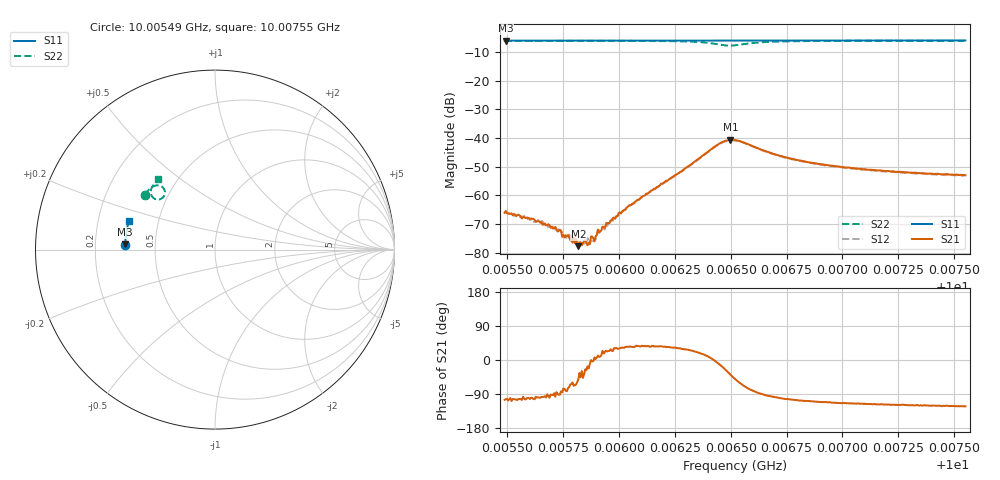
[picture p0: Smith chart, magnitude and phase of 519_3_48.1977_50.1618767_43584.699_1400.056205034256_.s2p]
#  HZ  S  RI  R  50.00
! Rohde & Schwarz Vector Network Analyzer
! Rohde-Schwarz,ZNB20-2Port,1311601062101988,3.16
! Created: UTC 3/20/2024, 11:59:18 AM
! freq[Hz]  re:S11  im:S11  re:S21  im:S21  re:S12  im:S12  re:S22  im:S22
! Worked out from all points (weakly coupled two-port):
!   401 points, 10.00549 GHz to 10.00755 GHz, reference 50 ohm
!   highest |S21| = -40.58 dB at 10.0065 GHz (marker M1); lowest = -77.7 dB at 10.00582 GHz (marker M2)
!   lowest |S11| = -6.0 dB at 10.00549 GHz (marker M3), VSWR 3.01, Z = 16.6 + j1.27 ohm
!   |S11| at or under -10 dB: nowhere
!   |S22| runs from -7.7 to -6.0 dB; largest |S21 - S12| = 0.0006
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1.0005487e10  -0.5004 0.0281  -0.000128 -0.000483  -0.000113 -0.000486  -0.3912 0.3057
1.0005493e10  -0.5003 0.0287  -0.000125 -0.000522  -0.000108 -0.000518  -0.391 0.3059
1.0005647e10  -0.5001 0.0387  -5.62e-05 -0.00033  -2.75e-05 -0.000346  -0.3842 0.315
1.0005673e10  -0.4999 0.0404  -4.62e-05 -0.000298  -7.13e-06 -0.000282  -0.3829 0.3167
1.0005725e10  -0.4996 0.0439  1.04e-06 -0.000235  -2.7e-06 -0.000256  -0.3802 0.3198
1.0005756e10  -0.4996 0.0458  4.33e-05 -0.00018  4.58e-05 -0.000187  -0.3787 0.3217
1.0005776e10  -0.4995 0.0472  5.97e-05 -0.000179  5.62e-05 -0.0002  -0.3778 0.323
1.0005802e10  -0.4993 0.0488  5.91e-05 -0.000135  9.64e-05 -0.000149  -0.3763 0.3247
1.0005818e10  -0.4993 0.0497  8.23e-05 -0.000102  9.53e-05 -9.14e-05  -0.3756 0.3256
1.0005833e10  -0.4993 0.0507  0.000118 -6.55e-05  0.00013 -7.15e-05  -0.3747 0.3266
1.0005859e10  -0.4991 0.0524  0.00013 -3.87e-05  0.000175 -4.5e-05  -0.3732 0.3283
1.0005885e10  -0.4991 0.0543  0.00018 -9.28e-06  0.00016 9.16e-06  -0.3721 0.3298
1.0005916e10  -0.4989 0.0562  0.000232 3.64e-05  0.000229 7.25e-05  -0.37 0.3319
1.0005967e10  -0.4986 0.0596  0.000335 0.00015  0.000353 0.000157  -0.3668 0.3353
1.0006179e10  -0.4972 0.0731  0.00118 0.000858  0.00114 0.00092  -0.3483 0.3502
1.0006437e10  -0.4942 0.0897  0.00746 -0.000699  0.00731 -0.000261  -0.282 0.334
1.0006498e10  -0.4936 0.0932  0.00731 -0.00584  0.00746 -0.00528  -0.2917 0.2889
1.0006519e10  -0.4933 0.0943  0.00593 -0.00709  0.00622 -0.00663  -0.3064 0.2805
1.000671e10  -0.4921 0.1065  -0.000803 -0.00499  -0.000594 -0.00494  -0.3581 0.3245
1.0006865e10  -0.4903 0.1165  -0.00122 -0.00352  -0.00107 -0.0035  -0.3514 0.3466
1.000721e10  -0.4852 0.1385  -0.00122 -0.00235  -0.00111 -0.00234  -0.3324 0.3728
1.0007551e10  -0.4795 0.1594  -0.0012 -0.00191  -0.00112 -0.00191  -0.3149 0.3909
